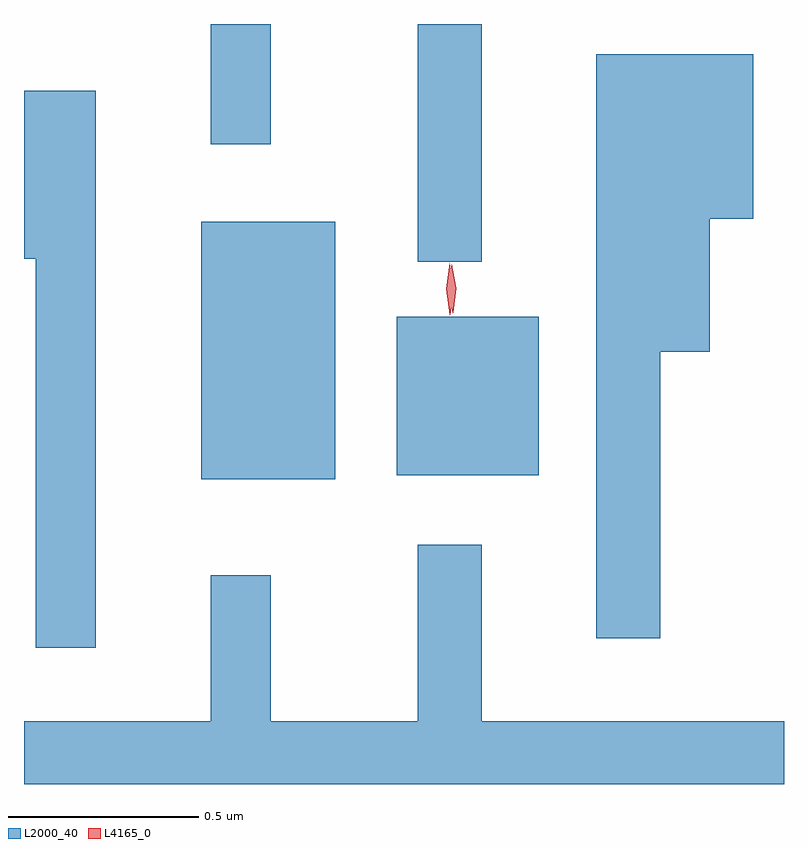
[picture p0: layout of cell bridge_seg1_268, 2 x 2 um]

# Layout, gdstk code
import gdstk
lib = gdstk.Library(unit=1e-6, precision=1e-09)
def R(c, l, rs):  # rectangles x0, y0, x1, y1
    for r in rs: c.add(gdstk.rectangle(r[:2], r[2:], *l))
def P(c, l, *ps):  # polygons
    for p in ps: c.add(gdstk.Polygon(p, *l))
L2000_40 = (2000, 40)
L4165_0 = (4165, 0)

bridge_seg1_268 = lib.new_cell('bridge_seg1_268')
R(bridge_seg1_268, L2000_40, [(950.341,873.841,950.694,874.519), (950.856,873.851,951.229,874.269), (950.911,874.413,951.079,875.039), (950.366,874.723,950.524,875.039)])
P(bridge_seg1_268, L2000_40, [(951.549,874.176),(951.679,874.176),(951.679,874.526),(951.794,874.526),(951.794,874.959),(951.381,874.959),(951.381,873.423),(951.549,873.423)],
  [(950.064,874.864),(949.875,874.864),(949.875,874.421),(949.906,874.421),(949.906,873.398),(950.064,873.398)],
  [(951.875,873.204),(951.079,873.204),(951.079,873.668),(950.911,873.668),(950.911,873.204),(950.524,873.204),(950.524,873.588),(950.366,873.588),(950.366,873.204),(949.875,873.204),(949.875,873.039),(951.875,873.039)])
P(bridge_seg1_268, L4165_0, [(950.996,874.273),(950.996,874.274),(950.986,874.342),(950.995,874.41),(950.995,874.41),(950.996,874.41),(951.006,874.342),(950.997,874.274)],
  [(951.003,874.278),(951.003,874.279),(950.992,874.343),(951,874.407),(951.001,874.407),(951.001,874.407),(951.012,874.343),(951.004,874.279)])

lib.write_gds('bridge_seg1_268.gds')
